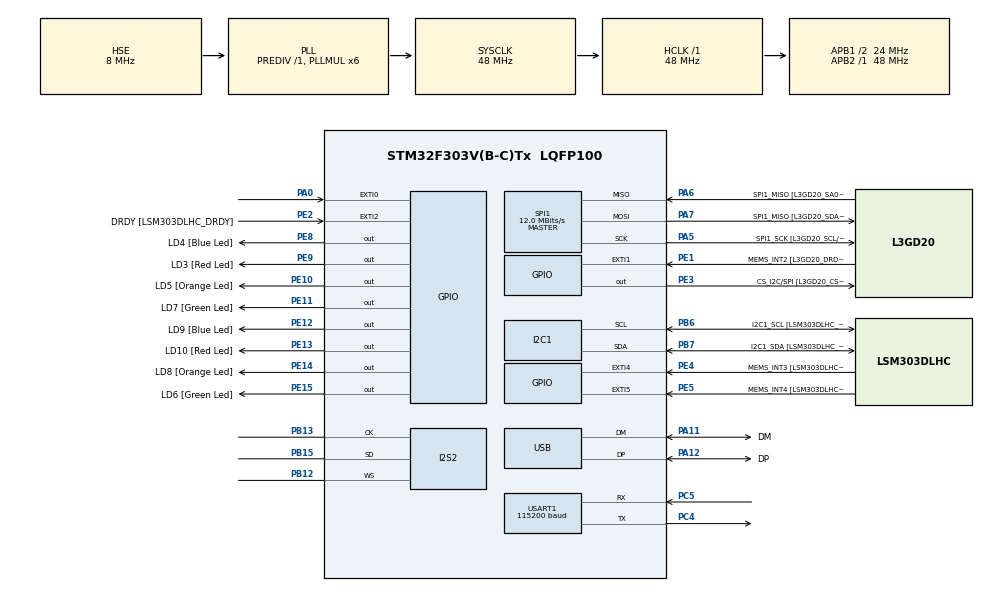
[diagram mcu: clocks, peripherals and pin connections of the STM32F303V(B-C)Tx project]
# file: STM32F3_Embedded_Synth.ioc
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Dma.Request0=SPI2_TX
Dma.SPI2_TX.0.Direction=DMA_MEMORY_TO_PERIPH
Dma.SPI2_TX.0.Instance=DMA1_Channel5
Dma.SPI2_TX.0.MemDataAlignment=DMA_MDATAALIGN_HALFWORD
Dma.SPI2_TX.0.MemInc=DMA_MINC_ENABLE
Dma.SPI2_TX.0.Mode=DMA_CIRCULAR
Dma.SPI2_TX.0.PeriphDataAlignment=DMA_PDATAALIGN_HALFWORD
Dma.SPI2_TX.0.PeriphInc=DMA_PINC_DISABLE
Dma.SPI2_TX.0.Priority=DMA_PRIORITY_LOW
I2C1.Timing=0x00201D2B
I2C1.Timing-I2C=0x2000090E
I2S2.AudioFreq=I2S_AUDIOFREQ_48K
I2S2.ErrorAudioFreq=0.8 %
I2S2.FullDuplexMode=I2S_FULLDUPLEXMODE_DISABLE
I2S2.Instance=SPI$Index
I2S2.RealAudioFreq=48.387 KHz
I2S2.VirtualMode=I2S_MODE_MASTER
Mcu.Family=STM32F3
Mcu.Name=STM32F303V(B-C)Tx
Mcu.Package=LQFP100
NVIC.DMA1_Channel5_IRQn=true\:1\:0\:false\:false\:true\:false\:true\:true
NVIC.EXTI0_IRQn=true\:2\:0\:false\:false\:true\:true\:true\:true
NVIC.PriorityGroup=NVIC_PRIORITYGROUP_4
NVIC.USART1_IRQn=true\:0\:0\:false\:false\:true\:true\:true\:true
PA0.Signal=GPXTI0
PA11.GPIO_Label=DM
PA11.Mode=Device
PA11.Signal=USB_DM
PA12.GPIO_Label=DP
PA12.Mode=Device
PA12.Signal=USB_DP
PA13.GPIO_Label=SWDIO
PA13.Mode=Serial_Wire
PA13.Signal=SYS_JTMS-SWDIO
PA14.GPIO_Label=SWCLK
PA14.Mode=Serial_Wire
PA14.Signal=SYS_JTCK-SWCLK
PA5.GPIO_Label=SPI1_SCK [L3GD20_SCL/SPC]
PA5.Mode=Full_Duplex_Master
PA5.Signal=SPI1_SCK
PA6.GPIO_Label=SPI1_MISO [L3GD20_SA0/SDO]
PA6.Mode=Full_Duplex_Master
PA6.Signal=SPI1_MISO
PA7.GPIO_Label=SPI1_MISO [L3GD20_SDA/SDI/SDO]
PA7.Mode=Full_Duplex_Master
PA7.Signal=SPI1_MOSI
PB12.Mode=Half_Duplex_Master
PB12.Signal=I2S2_WS
PB13.Mode=Half_Duplex_Master
PB13.Signal=I2S2_CK
PB15.Mode=Half_Duplex_Master
PB15.Signal=I2S2_SD
PB3.GPIO_Label=SWO
PB3.Signal=SYS_JTDO-TRACESWO
PB6.GPIO_Label=I2C1_SCL [LSM303DLHC_SCL]
PB6.GPIO_Pu=GPIO_PULLUP
PB6.Mode=I2C
PB6.Signal=I2C1_SCL
PB7.GPIO_Label=I2C1_SDA [LSM303DLHC_SDA]
PB7.GPIO_Pu=GPIO_PULLUP
PB7.Mode=I2C
PB7.Signal=I2C1_SDA
PC14-OSC32_IN.GPIO_Label=OSC32_IN
PC14-OSC32_IN.Signal=RCC_OSC32_IN
PC15-OSC32_OUT.GPIO_Label=OSC32_OUT
PC15-OSC32_OUT.Signal=RCC_OSC32_OUT
PC4.Mode=Asynchronous
PC4.Signal=USART1_TX
PC5.Mode=Asynchronous
PC5.Signal=USART1_RX
PE1.GPIO_Label=MEMS_INT2 [L3GD20_DRDY/INT2]
PE1.GPIO_ModeDefaultEXTI=GPIO_MODE_EVT_RISING
PE1.Signal=GPXTI1
PE10.GPIO_Label=LD5 [Orange Led]
PE10.Signal=GPIO_Output
PE11.GPIO_Label=LD7 [Green Led]
PE11.Signal=GPIO_Output
PE12.GPIO_Label=LD9 [Blue Led]
PE12.Signal=GPIO_Output
PE13.GPIO_Label=LD10 [Red Led]
PE13.Signal=GPIO_Output
PE14.GPIO_Label=LD8 [Orange Led]
PE14.Signal=GPIO_Output
PE15.GPIO_Label=LD6 [Green Led]
PE15.Signal=GPIO_Output
PE2.GPIO_Label=DRDY [LSM303DLHC_DRDY]
PE2.GPIO_ModeDefaultEXTI=GPIO_MODE_EVT_RISING
PE2.Signal=GPXTI2
PE3.GPIO_Label=CS_I2C/SPI [L3GD20_CS_I2C/SPI]
PE3.Signal=GPIO_Output
PE4.GPIO_Label=MEMS_INT3 [LSM303DLHC_INT1]
PE4.GPIO_ModeDefaultEXTI=GPIO_MODE_EVT_RISING
PE4.Signal=GPXTI4
PE5.GPIO_Label=MEMS_INT4 [LSM303DLHC_INT2]
PE5.GPIO_ModeDefaultEXTI=GPIO_MODE_EVT_RISING
PE5.Signal=GPXTI5
PE8.GPIO_Label=LD4 [Blue Led]
PE8.Signal=GPIO_Output
PE9.GPIO_Label=LD3 [Red Led]
PE9.Signal=GPIO_Output
PF0-OSC_IN.GPIO_Label=OSC_IN
PF0-OSC_IN.Mode=HSE-External-Oscillator
PF0-OSC_IN.Signal=RCC_OSC_IN
PF1-OSC_OUT.GPIO_Label=OSC_OUT
PF1-OSC_OUT.Mode=HSE-External-Oscillator
PF1-OSC_OUT.Signal=RCC_OSC_OUT
ProjectManager.HeapSize=0x200
ProjectManager.StackSize=0x400
ProjectManager.TargetToolchain=STM32CubeIDE
RCC.AHBFreq_Value=48000000
RCC.APB1CLKDivider=RCC_HCLK_DIV2
RCC.APB1Freq_Value=24000000
RCC.APB1TimFreq_Value=48000000
RCC.APB2Freq_Value=48000000
RCC.APB2TimFreq_Value=48000000
RCC.CortexFreq_Value=48000000
RCC.HCLKFreq_Value=48000000
RCC.HSE_VALUE=8000000
RCC.HSI_VALUE=8000000
RCC.LSE_VALUE=32768
RCC.PLLMUL=RCC_PLL_MUL6
RCC.SYSCLKFreq_VALUE=48000000
RCC.SYSCLKSourceVirtual=RCC_SYSCLKSOURCE_PLLCLK
RCC.USBFreq_Value=48000000
SPI1.BaudRatePrescaler=SPI_BAUDRATEPRESCALER_4
SPI1.BaudRatePrescaler-Full_Duplex_Master=SPI_BAUDRATEPRESCALER_2
SPI1.CalculateBaudRate=12.0 MBits/s
SPI1.CalculateBaudRate-Full_Duplex_Master=24.0 MBits/s
SPI1.Direction=SPI_DIRECTION_2LINES
SPI1.Mode=SPI_MODE_MASTER
SPI1.Mode-Full_Duplex_Master=SPI_MODE_MASTER
SPI1.VirtualType=VM_MASTER
USART1.BaudRate=115200
USART1.VirtualMode-Asynchronous=VM_ASYNC
board=STM32F3DISCOVERY

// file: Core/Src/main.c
/* USER CODE BEGIN Header */
/**
  ******************************************************************************
  * @file           : main.c
  * @brief          : Main program body
  ******************************************************************************
  * @attention
  *
  * Copyright (c) 2025 STMicroelectronics.
  * All rights reserved.
  *
  * This software is licensed under terms that can be found in the LICENSE file
  * in the root directory of this software component.
  * If no LICENSE file comes with this software, it is provided AS-IS.
  *
  ******************************************************************************
  */
/* USER CODE END Header */
#include "main.h"

/* USER CODE BEGIN Includes */
#include "math.h"
#include "adsr.h"
#include "audio_config.h"
#include "midi_mapping.h"
#include "oscillator.h"
#include "oscillator_tables.h"
#include "svf_filter.h"

//MIDI
#define MIDI_NOTE_ON  0x90
#define MIDI_NOTE_OFF 0x80
#define MIDI_CONTROL_CHANGE 0xB0
#define MIDI_BUF_LEN 64

uint8_t midi_ring_buffer[MIDI_BUF_LEN];
volatile uint8_t midi_read_idx = 0, midi_write_idx = 0;

uint8_t rx_byte;

uint8_t status;
uint8_t note;
uint8_t velocity;
uint8_t active_note = 0xFFU;
uint8_t held_notes[128];
uint32_t note_press_order[128];
uint32_t note_order_counter = 0;
// Ultimo valore ricevuto per ciascun MIDI Control Change (CC 0-127).
// Questi valori verranno successivamente associati a filtro e ADSR.
volatile uint8_t midi_cc_values[128];
volatile uint8_t last_cc_number = 0;
volatile uint8_t last_cc_value = 0;

float midi_freq = 0;
volatile uint8_t sound_enabled = 0;

typedef struct {
    uint32_t note_on_count;
    uint32_t note_off_count;
    uint32_t control_change_count;
    uint32_t dropped_bytes;
} MIDI_Diagnostics;

typedef struct {
    uint32_t error_count;
    uint32_t overrun_count;
} UART_Diagnostics;

typedef struct {
    uint8_t active_note;
    uint8_t state;
    float level;
} ADSR_Diagnostics;

typedef struct {
    uint32_t clipping_count;
    uint32_t non_finite_count;
    float cutoff_hz;
    float q;
} Filter_Diagnostics;

typedef struct {
    uint32_t last_cycles;
    uint32_t max_cycles;
    uint32_t deadline_cycles;
    uint32_t deadline_miss_count;
} Audio_Diagnostics;

typedef struct {
    uint8_t mipmapped_enabled;
    uint8_t interpolation_enabled;
    uint8_t active_mip_level;
    uint8_t waveform;
    uint16_t max_harmonic;
    uint32_t phase_increment;
    float frequency_hz;
} Oscillator_Diagnostics;

typedef struct {
    MIDI_Diagnostics midi;
    UART_Diagnostics uart;
    ADSR_Diagnostics adsr;
    Filter_Diagnostics filter;
    Audio_Diagnostics audio;
    Oscillator_Diagnostics oscillator;
} DebugStatus;

#ifdef DEBUG
volatile DebugStatus debug_status = {
    .adsr.active_note = 0xFFU
};
#define DEBUG_INCREMENT(field) (debug_status.field++)
#define DEBUG_SET(field, value) (debug_status.field = (value))
#else
#define DEBUG_INCREMENT(field) ((void)0)
#define DEBUG_SET(field, value) ((void)0)
#endif

//DAC
#define I2S_BUFFER_SIZE 512  // numero di campioni stereo (L+R = 2 x mono)

extern I2S_HandleTypeDef hi2s2;

int16_t i2s_buffer[I2S_BUFFER_SIZE * 2]; // stereo

/* USER CODE END Includes */

I2C_HandleTypeDef hi2c1;

I2S_HandleTypeDef hi2s2;
DMA_HandleTypeDef hdma_spi2_tx;

SPI_HandleTypeDef hspi1;

UART_HandleTypeDef huart1;

PCD_HandleTypeDef hpcd_USB_FS;

void SystemClock_Config(void);
static void MX_GPIO_Init(void);
static void MX_DMA_Init(void);
static void MX_I2C1_Init(void);
static void MX_SPI1_Init(void);
static void MX_USB_PCD_Init(void);
static void MX_I2S2_Init(void);
static void MX_USART1_UART_Init(void);
/* USER CODE BEGIN PFP */
static void SetMIDINoteFrequency(uint8_t midi_note) {
    midi_freq = 440.0f * powf(2.0f, ((float)midi_note - 69.0f) / 12.0f);
    SetFrequency(midi_freq);
}

static uint8_t FindMostRecentHeldNote(void) {
    uint8_t selected_note = 0xFFU;
    uint32_t newest_order = 0U;

    for (uint16_t candidate = 0; candidate < 128U; candidate++) {
        if (held_notes[candidate] != 0U &&
            note_press_order[candidate] >= newest_order) {
            selected_note = (uint8_t)candidate;
            newest_order = note_press_order[candidate];
        }
    }

    return selected_note;
}

static void HandleMIDINoteOn(uint8_t midi_note) {
    held_notes[midi_note] = 1U;
    note_press_order[midi_note] = ++note_order_counter;
    active_note = midi_note;
    DEBUG_SET(adsr.active_note, active_note);

    SetMIDINoteFrequency(midi_note);
    sound_enabled = 1U;
    ADSR_NoteOn();
}

static void HandleMIDINoteOff(uint8_t midi_note) {
    uint8_t fallback_note;

    held_notes[midi_note] = 0U;

    if (midi_note != active_note) {
        return;
    }

    fallback_note = FindMostRecentHeldNote();

    if (fallback_note != 0xFFU) {
        // PrioritÃ  all'ultima nota ancora premuta, senza riattivare l'inviluppo.
        active_note = fallback_note;
        DEBUG_SET(adsr.active_note, active_note);
        SetMIDINoteFrequency(fallback_note);
    } else {
        active_note = 0xFFU;
        DEBUG_SET(adsr.active_note, active_note);
        ADSR_NoteOff();
    }
}

//buffer audio
void FillI2SBuffer(int16_t *buffer, uint16_t length) {
    #ifdef DEBUG
    uint32_t start_cycles = DWT->CYCCNT;
#endif
    //smoothing filter parameters
    filter_cutoff_hz +=
        0.2f * (filter_cutoff_target_hz - filter_cutoff_hz);

    filter_q +=
        0.2f * (filter_q_target - filter_q);

    SVF_SetParameters(
        &lowpass_filter,
        filter_cutoff_hz,
        filter_q,
        (float)SAMPLE_RATE
    );

    float filter_gain = 1.0f;

    if (filter_gain_compensation_enabled) {
        if (filter_q > 1.0f) {
            filter_gain = 1.0f / sqrtf(filter_q);
        }
    }

    for (uint16_t i = 0; i < length; i += 2) {

    	if(sound_enabled==1){

        float oscillator_sample = Oscillator_ProcessSample();
        float envelope = ADSR_ProcessSample();

        // Oscillator sample is already normalized to the range -1.0 to 1.0.
        float input_sample = oscillator_sample * envelope;

        // Apply low-pass filter

        float lowpass_sample = SVF_ProcessLowpass(&lowpass_filter, input_sample*filter_gain);

        float filtered_sample;

        if (filter_enabled == 1) {
            filtered_sample = lowpass_sample;
        } else {
            filtered_sample = input_sample;
        }

        //diagnostic: check for non-finite values
        if (!isfinite(filtered_sample)) {
        DEBUG_INCREMENT(filter.non_finite_count);

        filtered_sample = 0.0f;
        SVF_Reset(&lowpass_filter);
        }

        //saturation
        if (filtered_sample > 1.0f) {
            DEBUG_INCREMENT(filter.clipping_count);
            filtered_sample = 1.0f;
        } else if (filtered_sample < -1.0f) {
            DEBUG_INCREMENT(filter.clipping_count);
            filtered_sample = -1.0f;
        }

        //convert to pcm 16 bit format
        int16_t output_sample =(int16_t)(filtered_sample * 32767.0f);

        //output mono sample
        buffer[i] = output_sample;     // Left
        buffer[i + 1] = output_sample; // Right
    	}else{
    		buffer[i] = 0;     // Left
    		buffer[i + 1] = 0;
    	}
    }

    if (sound_enabled == 0U) {
    SVF_Reset(&lowpass_filter);
    }

    DEBUG_SET(adsr.state, (uint8_t)adsr_state);
    DEBUG_SET(adsr.level, adsr_level);
    DEBUG_SET(filter.cutoff_hz, filter_cutoff_hz);
    DEBUG_SET(filter.q, filter_q);
    DEBUG_SET(oscillator.mipmapped_enabled, oscillator_mipmapped_enabled);
    DEBUG_SET(oscillator.interpolation_enabled, wavetable_interpolation_enabled);
    DEBUG_SET(oscillator.active_mip_level, active_mip_level);
    DEBUG_SET(oscillator.waveform, wave);
    DEBUG_SET(oscillator.max_harmonic,
              oscillator_mip_max_harmonic[active_mip_level]);
    DEBUG_SET(oscillator.phase_increment, phase_increment);
    DEBUG_SET(oscillator.frequency_hz, current_frequency);

    #ifdef DEBUG
        uint32_t elapsed_cycles = DWT->CYCCNT - start_cycles;
        uint32_t audio_frames = length / 2U;

        uint32_t deadline_cycles =
            (uint32_t)(((uint64_t)SystemCoreClock * audio_frames)
                    / SAMPLE_RATE);

        debug_status.audio.last_cycles = elapsed_cycles;
        debug_status.audio.deadline_cycles = deadline_cycles;

        if (elapsed_cycles > debug_status.audio.max_cycles) {
            debug_status.audio.max_cycles = elapsed_cycles;
        }

        if (elapsed_cycles > deadline_cycles) {
            debug_status.audio.deadline_miss_count++;
        }
    #endif

}

//DMA

void HAL_I2S_TxHalfCpltCallback(I2S_HandleTypeDef *hi2s) {
	//scrivo nella prima metÃ
    FillI2SBuffer(i2s_buffer, I2S_BUFFER_SIZE);
}

void HAL_I2S_TxCpltCallback(I2S_HandleTypeDef *hi2s) {
	//scrivo nella seconda metÃ
    FillI2SBuffer(&i2s_buffer[I2S_BUFFER_SIZE], I2S_BUFFER_SIZE);
}

//inizializzazione
void StartDDSOutput(void) {
    GenerateSampleTable();
    SetFrequency(current_frequency);
    FillI2SBuffer(i2s_buffer, I2S_BUFFER_SIZE * 2);
    HAL_I2S_Transmit_DMA(&hi2s2,(uint16_t *) i2s_buffer, I2S_BUFFER_SIZE * 2);
}

//ricezione USART1
void HAL_UART_RxCpltCallback(UART_HandleTypeDef *huart) {
	uint8_t next_write_idx = (uint8_t)((midi_write_idx + 1U) % MIDI_BUF_LEN);

	if (next_write_idx != midi_read_idx) {
		midi_ring_buffer[midi_write_idx] = rx_byte;
		midi_write_idx = next_write_idx;
	} else {
		// Buffer pieno: non sovrascrivere byte MIDI non ancora elaborati.
		DEBUG_INCREMENT(midi.dropped_bytes);
	}

	HAL_UART_Receive_IT(&huart1, &rx_byte, 1);
	}

void HAL_UART_ErrorCallback(UART_HandleTypeDef *huart) {
	if (huart->Instance == USART1) {
		DEBUG_INCREMENT(uart.error_count);

		if ((huart->ErrorCode & HAL_UART_ERROR_ORE) != 0U) {
			DEBUG_INCREMENT(uart.overrun_count);
			__HAL_UART_CLEAR_OREFLAG(huart);
		}

		// Riavvia sempre la ricezione dopo un errore, evitando che una nota
		// resti attiva perchÃ© il relativo Note Off non viene piÃ¹ ricevuto.
		HAL_UART_Receive_IT(&huart1, &rx_byte, 1);
	}
}

void ProcessMIDI(void) {
    static uint8_t running_status = 0;
    static uint8_t midi_data[2];
    static uint8_t data_index = 0;

    uint8_t byte = midi_ring_buffer[midi_read_idx];
    midi_read_idx = (uint8_t)((midi_read_idx + 1U) % MIDI_BUF_LEN);

    if ((byte & 0x80U) != 0U) {
        // I messaggi channel voice (0x80-0xEF) possono usare il running status.
        if (byte < 0xF0U) {
            running_status = byte;
            data_index = 0;
        } else {
            // I messaggi system non sono usati dal sintetizzatore.
            running_status = 0;
            data_index = 0;
        }
        return;
    }

    if (running_status == 0U) {
        return;
    }

    midi_data[data_index++] = byte;

    if (data_index == 2U) {
        uint8_t message_type = running_status & 0xF0U;
        uint8_t data_1 = midi_data[0];
        uint8_t data_2 = midi_data[1];
        data_index = 0;

        status = running_status;

        if (message_type == MIDI_CONTROL_CHANGE) {
            DEBUG_INCREMENT(midi.control_change_count);
            last_cc_number = data_1;
            last_cc_value = data_2;
            midi_cc_values[data_1] = data_2;
            MIDI_ApplyControlChange(data_1, data_2);
        } else {
            note = data_1;
            velocity = data_2;

            if (message_type == MIDI_NOTE_ON && velocity > 0U) {
                DEBUG_INCREMENT(midi.note_on_count);
                HandleMIDINoteOn(note);
            } else if (message_type == MIDI_NOTE_OFF ||
                       (message_type == MIDI_NOTE_ON && velocity == 0U)) {
                DEBUG_INCREMENT(midi.note_off_count);
                HandleMIDINoteOff(note);
            }
    }
}
}

void HAL_GPIO_EXTI_Callback(uint16_t GPIO_Pin){
	wave = (wave + 1) % 3;
	GenerateSampleTable();
	switch(wave){
	case 0: HAL_GPIO_WritePin(GPIOE, GPIO_PIN_8, GPIO_PIN_SET); HAL_GPIO_WritePin(GPIOE, GPIO_PIN_10, GPIO_PIN_RESET); break;
	case 1: HAL_GPIO_WritePin(GPIOE, GPIO_PIN_9, GPIO_PIN_SET); HAL_GPIO_WritePin(GPIOE, GPIO_PIN_8, GPIO_PIN_RESET); break;
	case 2: HAL_GPIO_WritePin(GPIOE, GPIO_PIN_10, GPIO_PIN_SET); HAL_GPIO_WritePin(GPIOE, GPIO_PIN_9, GPIO_PIN_RESET); break;
	default: break;
	}

}
/* USER CODE END PFP */

int main(void)
{

  /* MCU Configuration--------------------------------------------------------*/

  /* Reset of all peripherals, Initializes the Flash interface and the Systick. */
  HAL_Init();

  /* Configure the system clock */
  SystemClock_Config();

  /* Initialize all configured peripherals */
  MX_GPIO_Init();
  MX_DMA_Init();
  MX_I2C1_Init();
  MX_SPI1_Init();
  MX_USB_PCD_Init();
  MX_I2S2_Init();
  MX_USART1_UART_Init();
  /* USER CODE BEGIN 2 */
  HAL_GPIO_WritePin(GPIOE, GPIO_PIN_8, GPIO_PIN_SET);
  HAL_UART_Receive_IT(&huart1, &rx_byte, 1);
  SVF_Reset(&lowpass_filter);
  SVF_SetParameters(&lowpass_filter, filter_cutoff_hz, filter_q, (float)SAMPLE_RATE);

  #ifdef DEBUG
  CoreDebug->DEMCR |= CoreDebug_DEMCR_TRCENA_Msk;
  DWT->CYCCNT = 0U;
  DWT->CTRL |= DWT_CTRL_CYCCNTENA_Msk;
  #endif

  StartDDSOutput();
  /* USER CODE END 2 */

  /* Infinite loop */
  /* USER CODE BEGIN WHILE */
  while (1)
  {
	  if(midi_read_idx != midi_write_idx) {
		  ProcessMIDI();
	  }
    /* USER CODE END WHILE */

  }
}

void SystemClock_Config(void)
{
  RCC_OscInitTypeDef RCC_OscInitStruct = {0};
  RCC_ClkInitTypeDef RCC_ClkInitStruct = {0};
  RCC_PeriphCLKInitTypeDef PeriphClkInit = {0};

  /** Initializes the RCC Oscillators according to the specified parameters
  * in the RCC_OscInitTypeDef structure.
  */
  RCC_OscInitStruct.OscillatorType = RCC_OSCILLATORTYPE_HSI|RCC_OSCILLATORTYPE_HSE;
  RCC_OscInitStruct.HSEState = RCC_HSE_ON;
  RCC_OscInitStruct.HSEPredivValue = RCC_HSE_PREDIV_DIV1;
  RCC_OscInitStruct.HSIState = RCC_HSI_ON;
  RCC_OscInitStruct.HSICalibrationValue = RCC_HSICALIBRATION_DEFAULT;
  RCC_OscInitStruct.PLL.PLLState = RCC_PLL_ON;
  RCC_OscInitStruct.PLL.PLLSource = RCC_PLLSOURCE_HSE;
  RCC_OscInitStruct.PLL.PLLMUL = RCC_PLL_MUL6;
  if (HAL_RCC_OscConfig(&RCC_OscInitStruct) != HAL_OK)
  {
    Error_Handler();
  }

  /** Initializes the CPU, AHB and APB buses clocks
  */
  RCC_ClkInitStruct.ClockType = RCC_CLOCKTYPE_HCLK|RCC_CLOCKTYPE_SYSCLK
                              |RCC_CLOCKTYPE_PCLK1|RCC_CLOCKTYPE_PCLK2;
  RCC_ClkInitStruct.SYSCLKSource = RCC_SYSCLKSOURCE_PLLCLK;
  RCC_ClkInitStruct.AHBCLKDivider = RCC_SYSCLK_DIV1;
  RCC_ClkInitStruct.APB1CLKDivider = RCC_HCLK_DIV2;
  RCC_ClkInitStruct.APB2CLKDivider = RCC_HCLK_DIV1;

  if (HAL_RCC_ClockConfig(&RCC_ClkInitStruct, FLASH_LATENCY_1) != HAL_OK)
  {
    Error_Handler();
  }
  PeriphClkInit.PeriphClockSelection = RCC_PERIPHCLK_USB|RCC_PERIPHCLK_USART1
                              |RCC_PERIPHCLK_I2C1;
  PeriphClkInit.Usart1ClockSelection = RCC_USART1CLKSOURCE_PCLK2;
  PeriphClkInit.I2c1ClockSelection = RCC_I2C1CLKSOURCE_HSI;
  PeriphClkInit.USBClockSelection = RCC_USBCLKSOURCE_PLL;
  if (HAL_RCCEx_PeriphCLKConfig(&PeriphClkInit) != HAL_OK)
  {
    Error_Handler();
  }
}

static void MX_I2C1_Init(void)
{

  hi2c1.Instance = I2C1;
  hi2c1.Init.Timing = 0x00201D2B;
  hi2c1.Init.OwnAddress1 = 0;
  hi2c1.Init.AddressingMode = I2C_ADDRESSINGMODE_7BIT;
  hi2c1.Init.DualAddressMode = I2C_DUALADDRESS_DISABLE;
  hi2c1.Init.OwnAddress2 = 0;
  hi2c1.Init.OwnAddress2Masks = I2C_OA2_NOMASK;
  hi2c1.Init.GeneralCallMode = I2C_GENERALCALL_DISABLE;
  hi2c1.Init.NoStretchMode = I2C_NOSTRETCH_DISABLE;
  if (HAL_I2C_Init(&hi2c1) != HAL_OK)
  {
    Error_Handler();
  }

  /** Configure Analogue filter
  */
  if (HAL_I2CEx_ConfigAnalogFilter(&hi2c1, I2C_ANALOGFILTER_ENABLE) != HAL_OK)
  {
    Error_Handler();
  }

  /** Configure Digital filter
  */
  if (HAL_I2CEx_ConfigDigitalFilter(&hi2c1, 0) != HAL_OK)
  {
    Error_Handler();
  }

}

static void MX_I2S2_Init(void)
{

  hi2s2.Instance = SPI2;
  hi2s2.Init.Mode = I2S_MODE_MASTER_TX;
  hi2s2.Init.Standard = I2S_STANDARD_PHILIPS;
  hi2s2.Init.DataFormat = I2S_DATAFORMAT_16B;
  hi2s2.Init.MCLKOutput = I2S_MCLKOUTPUT_DISABLE;
  hi2s2.Init.AudioFreq = I2S_AUDIOFREQ_48K;
  hi2s2.Init.CPOL = I2S_CPOL_LOW;
  hi2s2.Init.ClockSource = I2S_CLOCK_SYSCLK;
  hi2s2.Init.FullDuplexMode = I2S_FULLDUPLEXMODE_DISABLE;
  if (HAL_I2S_Init(&hi2s2) != HAL_OK)
  {
    Error_Handler();
  }

}

static void MX_SPI1_Init(void)
{

  /* SPI1 parameter configuration*/
  hspi1.Instance = SPI1;
  hspi1.Init.Mode = SPI_MODE_MASTER;
  hspi1.Init.Direction = SPI_DIRECTION_2LINES;
  hspi1.Init.DataSize = SPI_DATASIZE_4BIT;
  hspi1.Init.CLKPolarity = SPI_POLARITY_LOW;
  hspi1.Init.CLKPhase = SPI_PHASE_1EDGE;
  hspi1.Init.NSS = SPI_NSS_SOFT;
  hspi1.Init.BaudRatePrescaler = SPI_BAUDRATEPRESCALER_4;
  hspi1.Init.FirstBit = SPI_FIRSTBIT_MSB;
  hspi1.Init.TIMode = SPI_TIMODE_DISABLE;
  hspi1.Init.CRCCalculation = SPI_CRCCALCULATION_DISABLE;
  hspi1.Init.CRCPolynomial = 7;
  hspi1.Init.CRCLength = SPI_CRC_LENGTH_DATASIZE;
  hspi1.Init.NSSPMode = SPI_NSS_PULSE_ENABLE;
  if (HAL_SPI_Init(&hspi1) != HAL_OK)
  {
    Error_Handler();
  }

}

static void MX_USART1_UART_Init(void)
{

  huart1.Instance = USART1;
  huart1.Init.BaudRate = 115200;
  huart1.Init.WordLength = UART_WORDLENGTH_8B;
  huart1.Init.StopBits = UART_STOPBITS_1;
  huart1.Init.Parity = UART_PARITY_NONE;
  huart1.Init.Mode = UART_MODE_TX_RX;
  huart1.Init.HwFlowCtl = UART_HWCONTROL_NONE;
  huart1.Init.OverSampling = UART_OVERSAMPLING_16;
  huart1.Init.OneBitSampling = UART_ONE_BIT_SAMPLE_DISABLE;
  huart1.AdvancedInit.AdvFeatureInit = UART_ADVFEATURE_NO_INIT;
  if (HAL_UART_Init(&huart1) != HAL_OK)
  {
    Error_Handler();
  }

}

static void MX_USB_PCD_Init(void)
{

  hpcd_USB_FS.Instance = USB;
  hpcd_USB_FS.Init.dev_endpoints = 8;
  hpcd_USB_FS.Init.speed = PCD_SPEED_FULL;
  hpcd_USB_FS.Init.phy_itface = PCD_PHY_EMBEDDED;
  hpcd_USB_FS.Init.low_power_enable = DISABLE;
  hpcd_USB_FS.Init.battery_charging_enable = DISABLE;
  if (HAL_PCD_Init(&hpcd_USB_FS) != HAL_OK)
  {
    Error_Handler();
  }

}

static void MX_DMA_Init(void)
{

  /* DMA controller clock enable */
  __HAL_RCC_DMA1_CLK_ENABLE();

  /* DMA interrupt init */
  /* DMA1_Channel5_IRQn interrupt configuration */
  HAL_NVIC_SetPriority(DMA1_Channel5_IRQn, 1, 0);
  HAL_NVIC_EnableIRQ(DMA1_Channel5_IRQn);

}

static void MX_GPIO_Init(void)
{
  GPIO_InitTypeDef GPIO_InitStruct = {0};

  /* GPIO Ports Clock Enable */
  __HAL_RCC_GPIOE_CLK_ENABLE();
  __HAL_RCC_GPIOC_CLK_ENABLE();
  __HAL_RCC_GPIOF_CLK_ENABLE();
  __HAL_RCC_GPIOA_CLK_ENABLE();
  __HAL_RCC_GPIOB_CLK_ENABLE();

  /*Configure GPIO pin Output Level */
  HAL_GPIO_WritePin(GPIOE, CS_I2C_SPI_Pin|LD4_Pin|LD3_Pin|LD5_Pin
                          |LD7_Pin|LD9_Pin|LD10_Pin|LD8_Pin
                          |LD6_Pin, GPIO_PIN_RESET);

  /*Configure GPIO pins : DRDY_Pin MEMS_INT3_Pin MEMS_INT4_Pin MEMS_INT2_Pin */
  GPIO_InitStruct.Pin = DRDY_Pin|MEMS_INT3_Pin|MEMS_INT4_Pin|MEMS_INT2_Pin;
  GPIO_InitStruct.Mode = GPIO_MODE_EVT_RISING;
  GPIO_InitStruct.Pull = GPIO_NOPULL;
  HAL_GPIO_Init(GPIOE, &GPIO_InitStruct);

  /*Configure GPIO pins : CS_I2C_SPI_Pin LD4_Pin LD3_Pin LD5_Pin
                           LD7_Pin LD9_Pin LD10_Pin LD8_Pin
                           LD6_Pin */
  GPIO_InitStruct.Pin = CS_I2C_SPI_Pin|LD4_Pin|LD3_Pin|LD5_Pin
                          |LD7_Pin|LD9_Pin|LD10_Pin|LD8_Pin
                          |LD6_Pin;
  GPIO_InitStruct.Mode = GPIO_MODE_OUTPUT_PP;
  GPIO_InitStruct.Pull = GPIO_NOPULL;
  GPIO_InitStruct.Speed = GPIO_SPEED_FREQ_LOW;
  HAL_GPIO_Init(GPIOE, &GPIO_InitStruct);

  /*Configure GPIO pin : PA0 */
  GPIO_InitStruct.Pin = GPIO_PIN_0;
  GPIO_InitStruct.Mode = GPIO_MODE_IT_RISING;
  GPIO_InitStruct.Pull = GPIO_NOPULL;
  HAL_GPIO_Init(GPIOA, &GPIO_InitStruct);

  /* EXTI interrupt init*/
  HAL_NVIC_SetPriority(EXTI0_IRQn, 2, 0);
  HAL_NVIC_EnableIRQ(EXTI0_IRQn);

}

void Error_Handler(void)
{
  __disable_irq();
  while (1)
  {
  }
}
